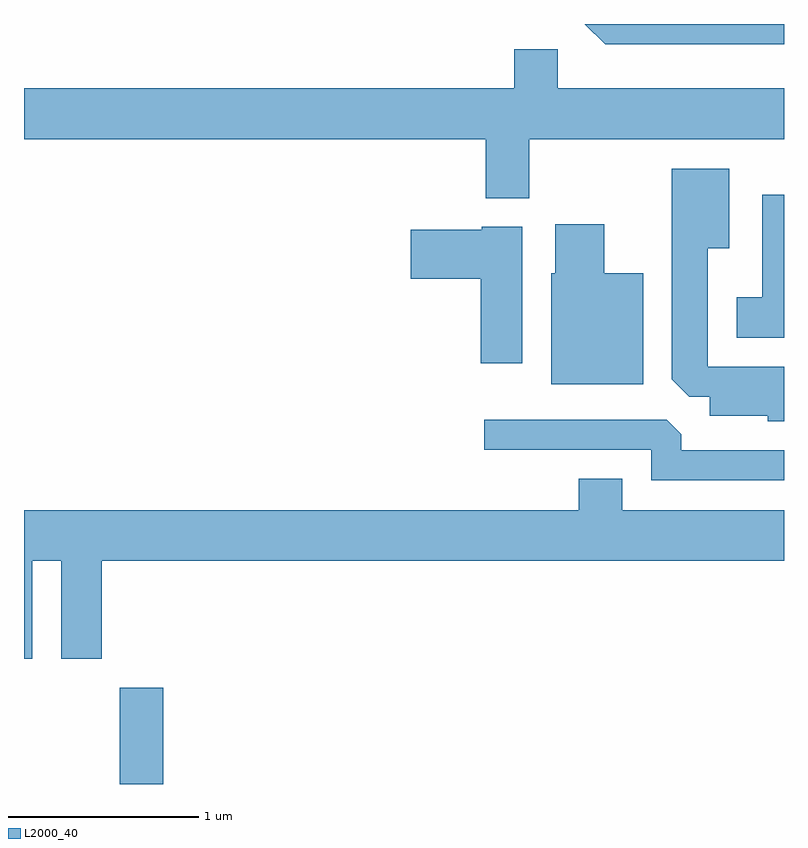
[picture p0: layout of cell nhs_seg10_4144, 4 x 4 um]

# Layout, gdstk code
import gdstk
lib = gdstk.Library(unit=1e-6, precision=1e-09)
def R(c, l, rs):  # rectangles x0, y0, x1, y1
    for r in rs: c.add(gdstk.rectangle(r[:2], r[2:], *l))
def P(c, l, *ps):  # polygons
    for p in ps: c.add(gdstk.Polygon(p, *l))
L2000_40 = (2000, 40)

nhs_seg10_4144 = lib.new_cell('nhs_seg10_4144')
R(nhs_seg10_4144, L2000_40, [(308.116,2110.522,308.344,2111.029)])
P(nhs_seg10_4144, L2000_40, [(311.611,2114.522),(310.563,2114.522),(310.669,2114.416),(311.611,2114.416)],
  [(310.269,2113.916),(311.611,2113.916),(311.611,2114.184),(310.419,2114.184),(310.419,2114.389),(310.191,2114.389),(310.191,2114.184),(307.611,2114.184),(307.611,2113.916),(310.041,2113.916),(310.041,2113.606),(310.269,2113.606)],
  [(311.611,2112.719),(311.209,2112.719),(311.209,2113.341),(311.324,2113.341),(311.324,2113.759),(311.021,2113.759),(311.021,2112.652),(311.112,2112.561),(311.221,2112.561),(311.221,2112.461),(311.526,2112.461),(311.526,2112.431),(311.611,2112.431)],
  [(311.611,2113.624),(311.496,2113.624),(311.496,2113.084),(311.361,2113.084),(311.361,2112.871),(311.611,2112.871)],
  [(310.869,2113.209),(310.664,2113.209),(310.664,2113.469),(310.406,2113.469),(310.406,2113.209),(310.386,2113.209),(310.386,2112.626),(310.869,2112.626)],
  [(310.234,2113.454),(310.02,2113.454),(310.02,2113.439),(309.646,2113.439),(309.646,2113.181),(310.016,2113.181),(310.016,2112.736),(310.234,2112.736)],
  [(311.611,2112.279),(311.069,2112.279),(311.069,2112.364),(310.994,2112.439),(310.033,2112.439),(310.033,2112.281),(310.911,2112.281),(310.911,2112.121),(311.611,2112.121)],
  [(307.654,2111.696),(307.806,2111.696),(307.806,2111.181),(308.019,2111.181),(308.019,2111.696),(311.611,2111.696),(311.611,2111.964),(310.759,2111.964),(310.759,2112.129),(310.531,2112.129),(310.531,2111.964),(307.611,2111.964),(307.611,2111.181),(307.654,2111.181)])

lib.write_gds('nhs_seg10_4144.gds')
